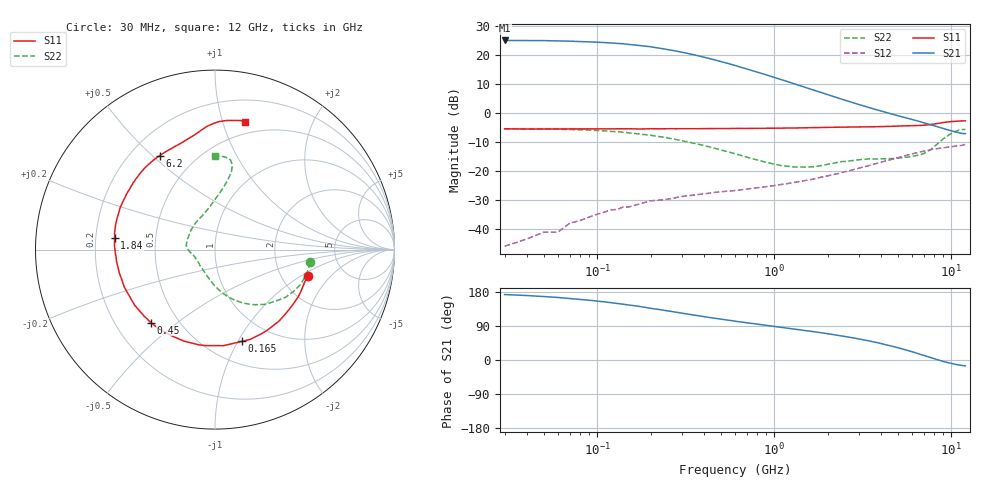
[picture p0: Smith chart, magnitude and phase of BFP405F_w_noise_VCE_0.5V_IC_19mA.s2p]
! Infineon Technologies  Discrete & RF Semiconductors
! BFP405F
! VCE =  0.5 V,  IC =  19 mA
! Common Emitter S-Parameters:  Nov 2015
# GHz  S  MA  R  50
!  f  S11  S21  S12  S22
! GHz  MAG  ANG  MAG  ANG  MAG  ANG  MAG  ANG
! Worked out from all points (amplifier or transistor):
!   239 points, 30 MHz to 12 GHz, reference 50 ohm
!   highest |S21| = 25.0 dB at 30 MHz (marker M1)
!   |S21| within 3 dB of that: start of sweep to 243 MHz
!   unconditionally stable (mu >= 1): start of sweep to 88.57 MHz; 475.7 MHz to end of sweep
!   at 300 MHz: K = 0.80, MSG = 24.9 dB, |S12| = -28.7 dB
!   at 1.88 GHz: K = 2.02, MAG = 8.6 dB, |S12| = -22.0 dB
!   at 12 GHz: K = 1.76, MAG = -3.2 dB, |S12| = -10.8 dB
!   lowest NFmin = 2.19 dB at 450 MHz
!   S11 on the Smith chart (normalised r, x): 30 MHz: 2.79, -1.13; 165 MHz: 0.73, -1.04; 450 MHz: 0.35, -0.41; 1.84 GHz: 0.28, +0.05; 6.2 GHz: 0.32, +0.53; 12 GHz: 0.39, +1.19
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0.03  0.5355 -15.7  17.79 172.7  0.0051 83.5  0.5355 -7.7
0.04  0.5311 -20.6  17.75 170.2  0.0068 84.7  0.5325 -10.3
0.055  0.5324 -28.0  17.59 166.2  0.0089 93.8  0.5286 -13.7
0.085  0.5312 -41.9  16.96 158.8  0.0151 72.6  0.5129 -22.5
0.1  0.5346 -48.4  16.63 155.6  0.0181 72.6  0.5003 -26.3
0.12  0.5352 -57.4  16.1 151.3  0.0216 69.1  0.483 -30.7
0.14  0.5352 -64.8  15.59 147.3  0.0241 63.6  0.4682 -35.4
0.165  0.5328 -73.5  14.8 142.8  0.026 61.6  0.4426 -40.3
0.2  0.5374 -84.9  13.85 136.4  0.0308 59.7  0.415 -47.3
0.24  0.5372 -95.3  12.68 130.9  0.0323 54.0  0.381 -53.7
0.3  0.5383 -108.6  11.19 123.4  0.0366 50.5  0.335 -62.5
0.45  0.5413 -131.2  8.382 110.7  0.0427 43.4  0.2529 -78.6
0.6  0.5445 -145.3  6.589 102.4  0.0463 42.0  0.1994 -91.2
0.9  0.5456 -162.2  4.542 91.4  0.0539 42.5  0.1414 -112.7
1.2  0.5523 -172.5  3.441 83.8  0.0611 43.7  0.1218 -133.4
1.64  0.5605 177.2  2.531 75.3  0.0725 46.2  0.1188 -156.7
1.84  0.5632 173.4  2.256 71.9  0.0787 47.0  0.1246 -165.4
2.86  0.5756 158.3  1.469 57.4  0.1079 46.4  0.1542 176.7
4.5  0.5904 138.7  0.982 37.9  0.1564 40.3  0.1637 157.0
6.2  0.6075 120.5  0.755 19.7  0.2029 29.9  0.1825 126.8
10  0.7138 88.1  0.495 -9.1  0.2637 6.1  0.446 78.1
12  0.7332 76.6  0.442 -15.2  0.289 -0.4  0.5222 89.8
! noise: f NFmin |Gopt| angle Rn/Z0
0.45  2.19  0.03  -9  0.5
0.9  2.21  0.01  -43  0.33
1.5  2.26  0.02  -82  0.27
1.9  2.32  0.03  -109  0.39
2.4  2.46  0.03  -113  0.24
3  2.56  0.05  -115  0.11
3.5  2.63  0.07  -116  0.14
4.5  2.86  0.13  -104  0.46
5.5  3.17  0.23  -88  0.49
